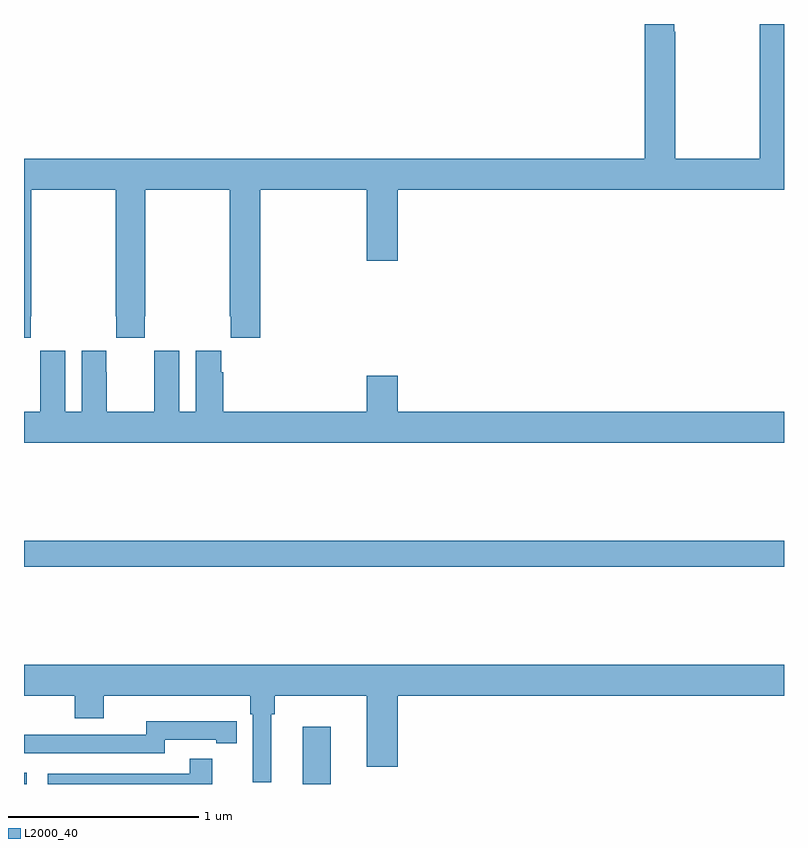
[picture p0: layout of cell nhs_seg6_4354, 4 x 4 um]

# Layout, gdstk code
import gdstk
lib = gdstk.Library(unit=1e-6, precision=1e-09)
def R(c, l, rs):  # rectangles x0, y0, x1, y1
    for r in rs: c.add(gdstk.rectangle(r[:2], r[2:], *l))
def P(c, l, *ps):  # polygons
    for p in ps: c.add(gdstk.Polygon(p, *l))
L2000_40 = (2000, 40)

nhs_seg6_4354 = lib.new_cell('nhs_seg6_4354')
R(nhs_seg6_4354, L2000_40, [(367,985.5,367.015,985.558), (368.468,985.5,368.614,985.801), (367,986.644,371,986.78)])
P(nhs_seg6_4354, L2000_40, [(367.035,987.961),(367.038,987.961),(367.038,988.628),(367.483,988.628),(367.483,987.961),(367.485,987.961),(367.485,987.849),(367.635,987.849),(367.635,987.961),(367.638,987.961),(367.638,988.628),(368.083,988.628),(368.083,987.961),(368.089,987.961),(368.089,987.849),(368.243,987.849),(368.243,988.628),(368.804,988.628),(368.804,988.254),(368.968,988.254),(368.968,988.628),(371,988.628),(371,989.5),(370.873,989.5),(370.873,988.792),(370.428,988.792),(370.428,989.459),(370.423,989.459),(370.423,989.5),(370.268,989.5),(370.268,988.792),(367,988.792),(367,987.849),(367.035,987.849)],
  [(371,987.46),(368.968,987.46),(368.968,987.649),(368.804,987.649),(368.804,987.46),(368.048,987.46),(368.048,987.668),(368.038,987.668),(368.038,987.781),(367.904,987.781),(367.904,987.46),(367.816,987.46),(367.816,987.781),(367.686,987.781),(367.686,987.668),(367.685,987.668),(367.685,987.46),(367.435,987.46),(367.435,987.668),(367.434,987.668),(367.434,987.781),(367.304,987.781),(367.304,987.46),(367.216,987.46),(367.216,987.781),(367.086,987.781),(367.086,987.668),(367.085,987.668),(367.085,987.46),(367,987.46),(367,987.296),(371,987.296)],
  [(368.302,985.868),(368.321,985.868),(368.321,985.964),(368.804,985.964),(368.804,985.59),(368.968,985.59),(368.968,985.964),(371,985.964),(371,986.128),(367,986.128),(367,985.964),(367.268,985.964),(367.268,985.847),(367.42,985.847),(367.42,985.964),(368.192,985.964),(368.192,985.868),(368.205,985.868),(368.205,985.509),(368.302,985.509)],
  [(367.74,985.734),(368.012,985.734),(368.012,985.714),(368.12,985.714),(368.12,985.83),(368.012,985.83),(368.012,985.831),(367.644,985.831),(367.644,985.758),(367.184,985.758),(367.184,985.76),(367,985.76),(367,985.662),(367.74,985.662)],
  [(367.991,985.633),(367.873,985.633),(367.873,985.554),(367.125,985.554),(367.125,985.5),(367.991,985.5)])

lib.write_gds('nhs_seg6_4354.gds')
